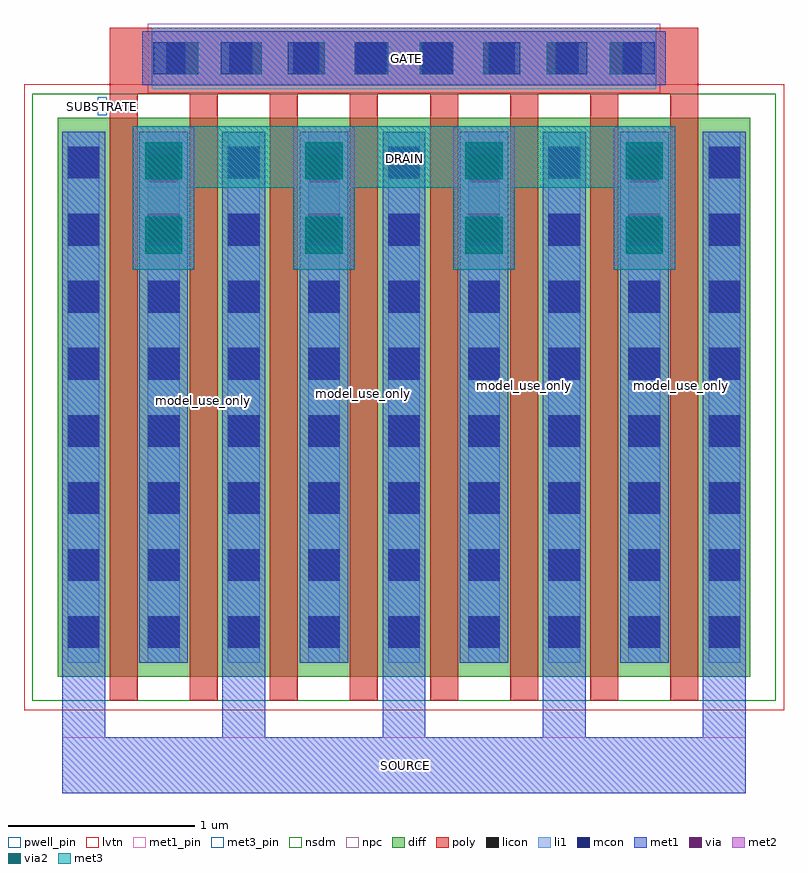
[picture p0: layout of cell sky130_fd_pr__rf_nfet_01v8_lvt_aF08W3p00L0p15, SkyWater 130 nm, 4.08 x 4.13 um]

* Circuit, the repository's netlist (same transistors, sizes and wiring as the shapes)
* Copyright 2020 The SkyWater PDK Authors
*
* Licensed under the Apache License, Version 2.0 (the "License");
* you may not use this file except in compliance with the License.
* You may obtain a copy of the License at
*
*     https://www.apache.org/licenses/LICENSE-2.0
*
* Unless required by applicable law or agreed to in writing, software
* distributed under the License is distributed on an "AS IS" BASIS,
* WITHOUT WARRANTIES OR CONDITIONS OF ANY KIND, either express or implied.
* See the License for the specific language governing permissions and
* limitations under the License.
*
* SPDX-License-Identifier: Apache-2.0


.subckt sky130_fd_pr__rf_nfet_01v8_lvt_aF08W3p00L0p15 DRAIN GATE SOURCE SUBSTRATE
X0 SOURCE GATE DRAIN SUBSTRATE sky130_fd_pr__nfet_01v8_lvt w=3e+06u l=150000u
X1 DRAIN GATE SOURCE SUBSTRATE sky130_fd_pr__nfet_01v8_lvt w=3e+06u l=150000u
X2 DRAIN GATE SOURCE SUBSTRATE sky130_fd_pr__nfet_01v8_lvt w=3e+06u l=150000u
X3 DRAIN GATE SOURCE SUBSTRATE sky130_fd_pr__nfet_01v8_lvt w=3e+06u l=150000u
X4 SOURCE GATE DRAIN SUBSTRATE sky130_fd_pr__nfet_01v8_lvt w=3e+06u l=150000u
X5 SOURCE GATE DRAIN SUBSTRATE sky130_fd_pr__nfet_01v8_lvt w=3e+06u l=150000u
X6 DRAIN GATE SOURCE SUBSTRATE sky130_fd_pr__nfet_01v8_lvt w=3e+06u l=150000u
X7 SOURCE GATE DRAIN SUBSTRATE sky130_fd_pr__nfet_01v8_lvt w=3e+06u l=150000u
.ends

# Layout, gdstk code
import gdstk
lib = gdstk.Library(unit=1e-6, precision=1e-09)
def R(c, l, rs):  # rectangles x0, y0, x1, y1
    for r in rs: c.add(gdstk.rectangle(r[:2], r[2:], *l))
def A(c, l, x, y, w, h, nx, ny, dx, dy):  # array of equal rectangles
    R(c, l, [(x+i*dx, y+j*dy, x+i*dx+w, y+j*dy+h) for i in range(nx) for j in range(ny)])
diff = (65, 20)
poly = (66, 20)
licon = (66, 44)
li1 = (67, 20)
mcon = (67, 44)
met1_pin = (68, 16)
met1 = (68, 20)
via = (68, 44)
met2 = (69, 20)
via2 = (69, 44)
met3_pin = (70, 16)
met3 = (70, 20)
nsdm = (93, 44)
npc = (95, 20)
pwell_pin = (122, 16)
lvtn = (125, 44)

sky130_fd_pr__rf_nfet_01 = lib.new_cell('sky130_fd_pr__rf_nfet_01v8_lvt_aF08W3p00L0p15')
A(sky130_fd_pr__rf_nfet_01, diff, 0.18, 0.18, 0.28, 3, 3, 1, 0.43, 0)
A(sky130_fd_pr__rf_nfet_01, diff, 0.21, 0.18, 0.25, 3, 4, 1, 0.86, 0)
A(sky130_fd_pr__rf_nfet_01, diff, 0.46, 0.18, 0.15, 3, 8, 1, 0.43, 0)
A(sky130_fd_pr__rf_nfet_01, diff, 1.04, 0.18, 0.28, 3, 3, 1, 0.43, 0)
A(sky130_fd_pr__rf_nfet_01, diff, 1.9, 0.18, 0.28, 3, 3, 1, 0.43, 0)
A(sky130_fd_pr__rf_nfet_01, diff, 2.76, 0.18, 0.28, 3, 3, 1, 0.43, 0)
R(sky130_fd_pr__rf_nfet_01, diff, [(3.62,0.18,3.9,3.18), (3.62,0.18,3.87,3.18), (3.65,0.18,3.9,3.18)])
A(sky130_fd_pr__rf_nfet_01, poly, 0.46, 0.05, 0.15, 3.26, 8, 1, 0.43, 0)
A(sky130_fd_pr__rf_nfet_01, poly, 0.46, 0.05, 0.15, 0.13, 8, 2, 0.43, 3.13)
R(sky130_fd_pr__rf_nfet_01, poly, [(0.46,3.31,3.62,3.665), (0.685,3.335,3.395,3.665)])
A(sky130_fd_pr__rf_nfet_01, licon, 0.235, 0.335, 0.17, 0.17, 9, 8, 0.43, 0.36)
A(sky130_fd_pr__rf_nfet_01, licon, 0.765, 3.415, 0.17, 0.17, 8, 1, 0.34, 0)
A(sky130_fd_pr__rf_nfet_01, li1, 0.235, 0.255, 0.17, 2.85, 9, 1, 0.43, 0)
R(sky130_fd_pr__rf_nfet_01, li1, [(0.685,3.335,3.395,3.665), (0.695,3.415,3.385,3.585)])
A(sky130_fd_pr__rf_nfet_01, mcon, 0.235, 0.335, 0.17, 0.17, 9, 8, 0.43, 0.36)
A(sky130_fd_pr__rf_nfet_01, mcon, 0.695, 3.415, 0.17, 0.17, 8, 1, 0.36, 0)
R(sky130_fd_pr__rf_nfet_01, met1_pin, [(0.205,-0.445,3.875,-0.145), (0.635,3.355,3.445,3.645)])
R(sky130_fd_pr__rf_nfet_01, met1, [(0.635,3.355,3.445,3.645)])
A(sky130_fd_pr__rf_nfet_01, via, 0.675, 2.515, 0.15, 0.15, 4, 2, 0.86, 0.32)
A(sky130_fd_pr__rf_nfet_01, met2, 0.585, 2.365, 0.33, 0.77, 4, 1, 0.86, 0)
A(sky130_fd_pr__rf_nfet_01, met2, 0.62, 2.43, 0.26, 0.64, 4, 1, 0.86, 0)
A(sky130_fd_pr__rf_nfet_01, via2, 0.65, 2.45, 0.2, 0.2, 4, 2, 0.86, 0.4)
R(sky130_fd_pr__rf_nfet_01, met3_pin, [(0.585,2.805,3.495,3.135)])
A(sky130_fd_pr__rf_nfet_01, met3, 0.585, 2.365, 0.33, 0.77, 4, 1, 0.86, 0)
A(sky130_fd_pr__rf_nfet_01, nsdm, 0.21, 0.05, 0.4, 3.26, 7, 1, 0.43, 0)
A(sky130_fd_pr__rf_nfet_01, nsdm, 0.48, 0.05, 0.54, 3.26, 7, 1, 0.43, 0)
R(sky130_fd_pr__rf_nfet_01, nsdm, [(0.045,0.05,0.59,3.31), (3.22,0.05,3.87,3.31), (3.49,0.05,4.035,3.31)])
R(sky130_fd_pr__rf_nfet_01, npc, [(0.665,3.315,3.415,3.685)])
R(sky130_fd_pr__rf_nfet_01, pwell_pin, [(0.395,3.195,0.445,3.29)])
R(sky130_fd_pr__rf_nfet_01, lvtn, [(0,0,4.08,3.36)])
sky130_fd_pr__rf_nfet_01.add(gdstk.FlexPath([(0.585,2.97),(3.495,2.97)], 0.33, ends="flush", simple_path=True, layer=70, datatype=20))  # met3
sky130_fd_pr__rf_nfet_01.add(gdstk.FlexPath([(2.9,3.105),(2.9,-0.445)], 0.23, ends="flush", simple_path=True, layer=68, datatype=20))  # met1
sky130_fd_pr__rf_nfet_01.add(gdstk.FlexPath([(3.76,3.105),(3.76,-0.445)], 0.23, ends="flush", simple_path=True, layer=68, datatype=20))  # met1
sky130_fd_pr__rf_nfet_01.add(gdstk.FlexPath([(2.04,3.105),(2.04,-0.445)], 0.23, ends="flush", simple_path=True, layer=68, datatype=20))  # met1
sky130_fd_pr__rf_nfet_01.add(gdstk.FlexPath([(0.205,-0.295),(3.875,-0.295)], 0.3, ends="flush", simple_path=True, layer=68, datatype=20))  # met1
sky130_fd_pr__rf_nfet_01.add(gdstk.FlexPath([(1.18,3.105),(1.18,-0.445)], 0.23, ends="flush", simple_path=True, layer=68, datatype=20))  # met1
sky130_fd_pr__rf_nfet_01.add(gdstk.FlexPath([(3.33,3.105),(3.33,0.255)], 0.26, ends="flush", simple_path=True, layer=68, datatype=20))  # met1
sky130_fd_pr__rf_nfet_01.add(gdstk.FlexPath([(2.47,3.105),(2.47,0.255)], 0.26, ends="flush", simple_path=True, layer=68, datatype=20))  # met1
sky130_fd_pr__rf_nfet_01.add(gdstk.FlexPath([(1.61,3.105),(1.61,0.255)], 0.26, ends="flush", simple_path=True, layer=68, datatype=20))  # met1
sky130_fd_pr__rf_nfet_01.add(gdstk.FlexPath([(0.75,3.105),(0.75,0.255)], 0.26, ends="flush", simple_path=True, layer=68, datatype=20))  # met1
sky130_fd_pr__rf_nfet_01.add(gdstk.FlexPath([(0.32,3.105),(0.32,-0.445)], 0.23, ends="flush", simple_path=True, layer=68, datatype=20))  # met1
sky130_fd_pr__rf_nfet_01.add(gdstk.Label('model_use_only', (0.965,1.665), layer=66, texttype=83))
sky130_fd_pr__rf_nfet_01.add(gdstk.Label('model_use_only', (0.525,1.635), layer=66, texttype=83))
sky130_fd_pr__rf_nfet_01.add(gdstk.Label('model_use_only', (1.4,1.67), layer=66, texttype=83))
sky130_fd_pr__rf_nfet_01.add(gdstk.Label('model_use_only', (1.825,1.7), layer=66, texttype=83))
sky130_fd_pr__rf_nfet_01.add(gdstk.Label('model_use_only', (2.25,1.71), layer=66, texttype=83))
sky130_fd_pr__rf_nfet_01.add(gdstk.Label('model_use_only', (2.685,1.745), layer=66, texttype=83))
sky130_fd_pr__rf_nfet_01.add(gdstk.Label('model_use_only', (3.115,1.765), layer=66, texttype=83))
sky130_fd_pr__rf_nfet_01.add(gdstk.Label('model_use_only', (3.53,1.745), layer=66, texttype=83))
sky130_fd_pr__rf_nfet_01.add(gdstk.Label('DRAIN', (2.04,2.96), layer=70, texttype=16))
sky130_fd_pr__rf_nfet_01.add(gdstk.Label('GATE', (2.055,3.5), layer=68, texttype=16))
sky130_fd_pr__rf_nfet_01.add(gdstk.Label('SOURCE', (2.05,-0.295), layer=68, texttype=16))
sky130_fd_pr__rf_nfet_01.add(gdstk.Label('SUBSTRATE', (0.42,3.24), layer=64, texttype=59))

lib.write_gds('sky130_fd_pr__rf_nfet_01v8_lvt_aF08W3p00L0p15.gds')
